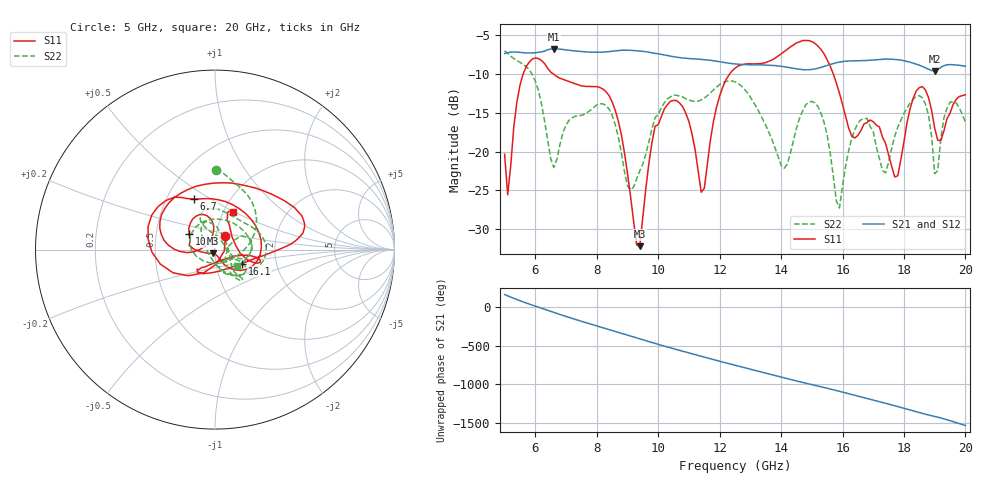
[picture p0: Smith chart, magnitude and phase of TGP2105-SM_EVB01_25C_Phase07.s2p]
! Date: Wednesday, June 05, 2013  1:49 PM
! Filename: C:\Data\Mike_Arnold\TGP2105-SM\Over_Temp\TGP2105-SM_EVB01_25C_Phase7.s2p
! Comments:
!^VDC(V):5.000
!^VDC(mA):0.100
!%Freq(GHz),S11(dB),S11(ang),S21(dB),S21(ang),S12(dB),S12(ang),S22(dB),S22(ang)
# GHz  S  DB  R  50
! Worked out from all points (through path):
!   151 points, 5 GHz to 20 GHz, reference 50 ohm
!   highest |S21| = -6.77 dB at 6.6 GHz (marker M1); lowest = -9.6 dB at 19 GHz (marker M2)
!   lowest |S11| = -32.2 dB at 9.4 GHz (marker M3), VSWR 1.05, Z = 48.8 - j2.11 ohm
!   |S11| at or under -10 dB: start of sweep to 5.603 GHz; 6.584 GHz to 12.33 GHz (5.743 GHz wide, 60.7 % of centre); 15.7 GHz to end of sweep
!   |S22| runs from -27.3 to -7.0 dB; largest |S21 - S12| = 0.002
!   S11 on the Smith chart (normalised r, x): 5 GHz: 1.11, +0.17; 6.7 GHz: 0.69, +0.43; 10.1 GHz: 0.74, +0.13; 16.1 GHz: 1.33, -0.21; 20 GHz: 1.11, +0.49
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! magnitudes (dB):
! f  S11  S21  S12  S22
! 5 GHz  -20.3  -7.4  -7.4  -7.0
! 5.1 GHz  -25.6  -7.3  -7.3  -7.3
! 5.7 GHz  -9.1  -7.3  -7.3  -9.0
! 6.6 GHz  -10.0  -6.8  -6.8  -22.0
! 6.7 GHz  -10.3  -6.8  -6.8  -21.0
! 7.5 GHz  -11.5  -7.1  -7.1  -15.3
! 8.6 GHz  -14.7  -7.0  -7.0  -16.5
! 9.4 GHz  -32.2  -7.0  -7.1  -22.5
! 10 GHz  -16.5  -7.4  -7.4  -15.2
! 10.1 GHz  -15.5  -7.5  -7.5  -14.4
! 10.8 GHz  -14.2  -7.9  -8.0  -13.0
! 11.4 GHz  -25.2  -8.1  -8.1  -13.3
! 12.5 GHz  -9.3  -8.7  -8.7  -11.0
! 14.1 GHz  -7.1  -9.1  -9.1  -22.2
! 15 GHz  -5.8  -9.4  -9.4  -13.5
! 15.9 GHz  -12.5  -8.5  -8.5  -27.3
! 16.1 GHz  -15.5  -8.4  -8.4  -21.9
! 16.7 GHz  -16.4  -8.3  -8.3  -15.7
! 17.5 GHz  -20.4  -8.1  -8.1  -21.4
! 18.5 GHz  -11.8  -8.9  -8.9  -12.8
! 19 GHz  -17.0  -9.6  -9.6  -22.8
! 20 GHz  -12.7  -9.0  -9.0  -16.2
